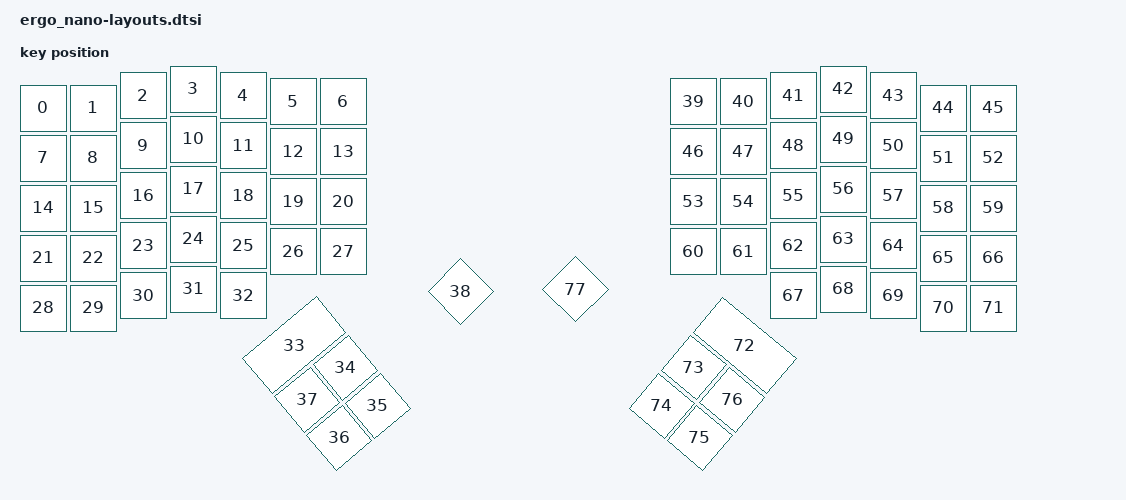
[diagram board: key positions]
#include <physical_layouts.dtsi>

/ {
    physical_layout_ergo_nano: physical_layout_ergo_nano {
        compatible = "zmk,physical-layout";
        display-name = "Ergo-Nano";
        keys
            = <&key_physical_attrs 100 100    0   38       0     0    38>
            , <&key_physical_attrs 100 100  100   38       0   100    38>
            , <&key_physical_attrs 100 100  200   13       0   200    13>
            , <&key_physical_attrs 100 100  300    0       0   300     0>
            , <&key_physical_attrs 100 100  400   13       0   400    13>
            , <&key_physical_attrs 100 100  500   25       0   500    25>
            , <&key_physical_attrs 100 100  600   25       0   600    25>
            , <&key_physical_attrs 100 100    0  138       0     0   138>
            , <&key_physical_attrs 100 100  100  138       0   100   138>
            , <&key_physical_attrs 100 100  200  113       0   200   113>
            , <&key_physical_attrs 100 100  300  100       0   300   100>
            , <&key_physical_attrs 100 100  400  113       0   400   113>
            , <&key_physical_attrs 100 100  500  125       0   500   125>
            , <&key_physical_attrs 100 100  600  125       0   600   125>
            , <&key_physical_attrs 100 100    0  238       0     0   238>
            , <&key_physical_attrs 100 100  100  238       0   100   238>
            , <&key_physical_attrs 100 100  200  213       0   200   213>
            , <&key_physical_attrs 100 100  300  200       0   300   200>
            , <&key_physical_attrs 100 100  400  213       0   400   213>
            , <&key_physical_attrs 100 100  500  225       0   500   225>
            , <&key_physical_attrs 100 100  600  225       0   600   225>
            , <&key_physical_attrs 100 100    0  338       0     0   338>
            , <&key_physical_attrs 100 100  100  338       0   100   338>
            , <&key_physical_attrs 100 100  200  313       0   200   313>
            , <&key_physical_attrs 100 100  300  300       0   300   300>
            , <&key_physical_attrs 100 100  400  313       0   400   313>
            , <&key_physical_attrs 100 100  500  325       0   500   325>
            , <&key_physical_attrs 100 100  600  325       0   600   325>
            , <&key_physical_attrs 100 100    0  438       0     0   438>
            , <&key_physical_attrs 100 100  100  438       0   100   438>
            , <&key_physical_attrs 100 100  200  413       0   200   413>
            , <&key_physical_attrs 100 100  300  400       0   300   400>
            , <&key_physical_attrs 100 100  400  413       0   400   413>
            , <&key_physical_attrs 100 200  625  450    5000   600   425>
            , <&key_physical_attrs 100 100  725  450    5000   600   425>
            , <&key_physical_attrs 100 100  825  450    5000   600   425>
            , <&key_physical_attrs 100 100  825  550    5000   600   425>
            , <&key_physical_attrs 100 100  725  550    5000   600   425>
            , <&key_physical_attrs 100 100  815  455 (-4500)   815   455>
            , <&key_physical_attrs 100 100 1300   25       0  1300    25>
            , <&key_physical_attrs 100 100 1400   25       0  1400    25>
            , <&key_physical_attrs 100 100 1500   13       0  1500    13>
            , <&key_physical_attrs 100 100 1600    0       0  1600     0>
            , <&key_physical_attrs 100 100 1700   13       0  1700    13>
            , <&key_physical_attrs 100 100 1800   38       0  1800    38>
            , <&key_physical_attrs 100 100 1900   38       0  1900    38>
            , <&key_physical_attrs 100 100 1300  125       0  1300   125>
            , <&key_physical_attrs 100 100 1400  125       0  1400   125>
            , <&key_physical_attrs 100 100 1500  113       0  1500   113>
            , <&key_physical_attrs 100 100 1600  100       0  1600   100>
            , <&key_physical_attrs 100 100 1700  113       0  1700   113>
            , <&key_physical_attrs 100 100 1800  138       0  1800   138>
            , <&key_physical_attrs 100 100 1900  138       0  1900   138>
            , <&key_physical_attrs 100 100 1300  225       0  1300   225>
            , <&key_physical_attrs 100 100 1400  225       0  1400   225>
            , <&key_physical_attrs 100 100 1500  213       0  1500   213>
            , <&key_physical_attrs 100 100 1600  200       0  1600   200>
            , <&key_physical_attrs 100 100 1700  213       0  1700   213>
            , <&key_physical_attrs 100 100 1800  238       0  1800   238>
            , <&key_physical_attrs 100 100 1900  238       0  1900   238>
            , <&key_physical_attrs 100 100 1300  325       0  1300   325>
            , <&key_physical_attrs 100 100 1400  325       0  1400   325>
            , <&key_physical_attrs 100 100 1500  313       0  1500   313>
            , <&key_physical_attrs 100 100 1600  300       0  1600   300>
            , <&key_physical_attrs 100 100 1700  313       0  1700   313>
            , <&key_physical_attrs 100 100 1800  338       0  1800   338>
            , <&key_physical_attrs 100 100 1900  338       0  1900   338>
            , <&key_physical_attrs 100 100 1500  413       0  1500   413>
            , <&key_physical_attrs 100 100 1600  400       0  1600   400>
            , <&key_physical_attrs 100 100 1700  413       0  1700   413>
            , <&key_physical_attrs 100 100 1800  438       0  1800   438>
            , <&key_physical_attrs 100 100 1900  438       0  1900   438>
            , <&key_physical_attrs 100 200 1345  537 (-5000)  1345   537>
            , <&key_physical_attrs 100 100 1281  613 (-5000)  1281   613>
            , <&key_physical_attrs 100 100 1217  690 (-5000)  1217   690>
            , <&key_physical_attrs 100 100 1293  754 (-5000)  1293   754>
            , <&key_physical_attrs 100 100 1358  678 (-5000)  1358   678>
            , <&key_physical_attrs 100 100 1115  380    4500  1115   380>
            ;
    };
};
